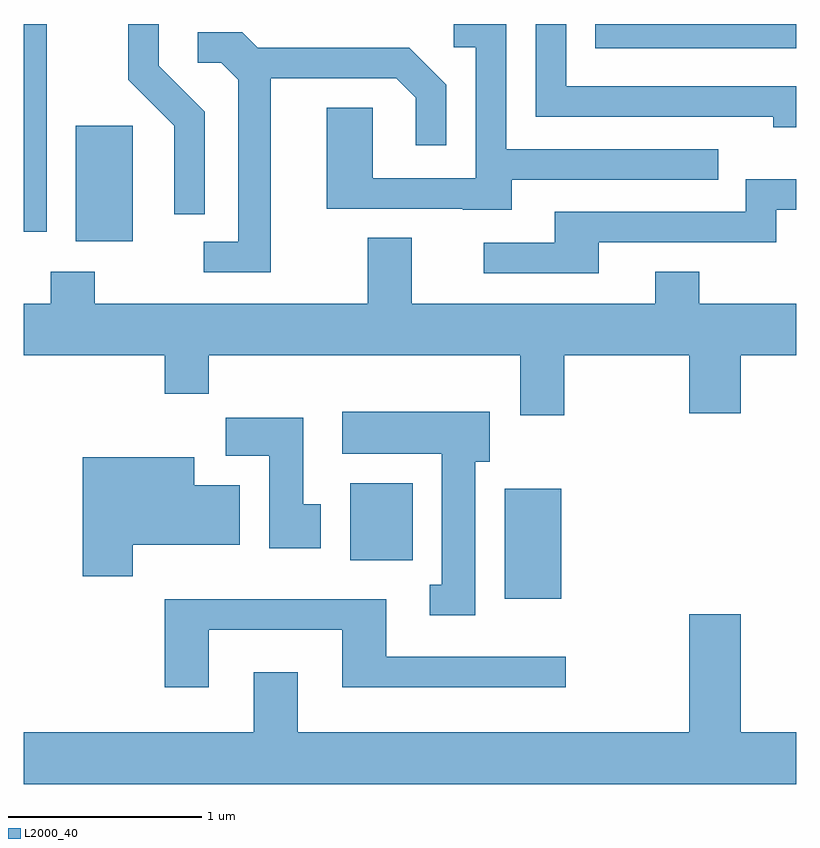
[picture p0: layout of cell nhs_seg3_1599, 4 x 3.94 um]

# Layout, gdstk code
import gdstk
lib = gdstk.Library(unit=1e-6, precision=1e-09)
def R(c, l, rs):  # rectangles x0, y0, x1, y1
    for r in rs: c.add(gdstk.rectangle(r[:2], r[2:], *l))
def P(c, l, *ps):  # polygons
    for p in ps: c.add(gdstk.Polygon(p, *l))
L2000_40 = (2000, 40)

nhs_seg3_1599 = lib.new_cell('nhs_seg3_1599')
R(nhs_seg3_1599, L2000_40, [(234.101,1186.916,234.394,1187.484), (233.301,1187.116,233.624,1187.514), (231.881,1188.766,232.174,1189.364), (231.611,1188.816,231.729,1189.892), (234.571,1189.766,235.611,1189.892)])
P(nhs_seg3_1599, L2000_40, [(234.139,1189.086),(235.208,1189.086),(235.208,1189.244),(234.109,1189.244),(234.109,1189.892),(233.838,1189.892),(233.838,1189.771),(233.951,1189.771),(233.951,1189.094),(233.419,1189.094),(233.419,1189.459),(233.181,1189.459),(233.181,1188.936),(233.885,1188.936),(233.885,1188.931),(234.139,1188.931)],
  [(235.611,1189.569),(234.419,1189.569),(234.419,1189.892),(234.261,1189.892),(234.261,1189.411),(235.491,1189.411),(235.491,1189.356),(235.611,1189.356)],
  [(232.549,1189.437),(232.309,1189.677),(232.309,1189.892),(232.151,1189.892),(232.151,1189.604),(232.391,1189.364),(232.391,1188.908),(232.549,1188.908)],
  [(232.889,1189.611),(233.539,1189.611),(233.641,1189.509),(233.641,1189.263),(233.799,1189.263),(233.799,1189.577),(233.607,1189.769),(232.822,1189.769),(232.742,1189.849),(232.513,1189.849),(232.513,1189.691),(232.634,1189.691),(232.721,1189.604),(232.721,1188.764),(232.543,1188.764),(232.543,1188.606),(232.889,1188.606)],
  [(234.589,1188.761),(235.509,1188.761),(235.509,1188.931),(235.611,1188.931),(235.611,1189.089),(235.351,1189.089),(235.351,1188.919),(234.361,1188.919),(234.361,1188.759),(233.993,1188.759),(233.993,1188.601),(234.589,1188.601)],
  [(234.181,1187.866),(234.409,1187.866),(234.409,1188.176),(235.056,1188.176),(235.056,1187.876),(235.324,1187.876),(235.324,1188.176),(235.611,1188.176),(235.611,1188.444),(235.109,1188.444),(235.109,1188.609),(234.881,1188.609),(234.881,1188.444),(233.619,1188.444),(233.619,1188.784),(233.391,1188.784),(233.391,1188.444),(231.979,1188.444),(231.979,1188.609),(231.751,1188.609),(231.751,1188.444),(231.611,1188.444),(231.611,1188.176),(232.341,1188.176),(232.341,1187.976),(232.569,1187.976),(232.569,1188.176),(234.181,1188.176)],
  [(233.949,1187.626),(234.024,1187.626),(234.024,1187.884),(233.261,1187.884),(233.261,1187.666),(233.776,1187.666),(233.776,1186.989),(233.713,1186.989),(233.713,1186.831),(233.949,1186.831)],
  [(233.149,1187.404),(233.059,1187.404),(233.059,1187.854),(232.656,1187.854),(232.656,1187.656),(232.881,1187.656),(232.881,1187.176),(233.149,1187.176)],
  [(232.174,1187.196),(232.729,1187.196),(232.729,1187.504),(232.494,1187.504),(232.494,1187.649),(231.916,1187.649),(231.916,1187.031),(232.174,1187.031)],
  [(232.569,1186.756),(233.261,1186.756),(233.261,1186.456),(234.418,1186.456),(234.418,1186.614),(233.489,1186.614),(233.489,1186.914),(232.341,1186.914),(232.341,1186.456),(232.569,1186.456)],
  [(235.611,1186.224),(235.324,1186.224),(235.324,1186.834),(235.056,1186.834),(235.056,1186.224),(233.029,1186.224),(233.029,1186.534),(232.801,1186.534),(232.801,1186.224),(231.611,1186.224),(231.611,1185.956),(235.611,1185.956)])

lib.write_gds('nhs_seg3_1599.gds')
